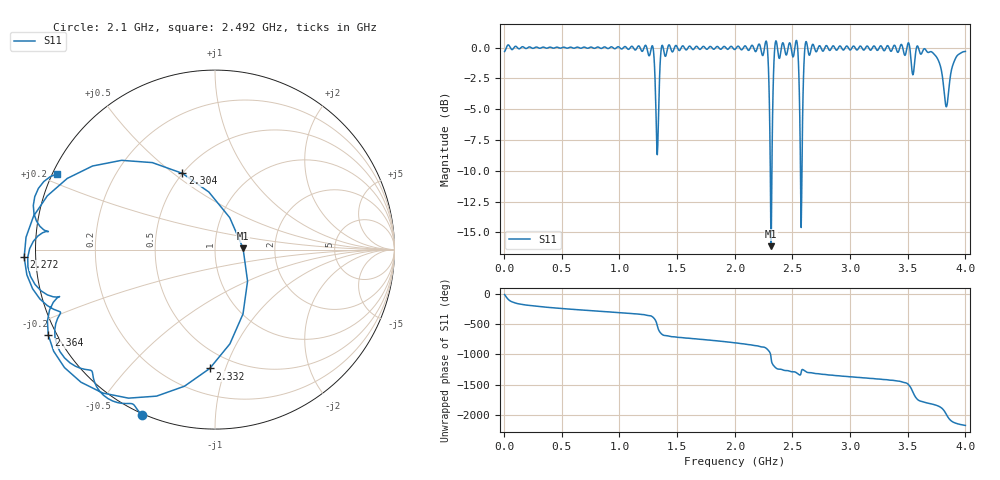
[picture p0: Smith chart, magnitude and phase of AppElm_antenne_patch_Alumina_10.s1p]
! TOUCHSTONE file generated by CST MICROWAVE STUDIO
! Date and time: Thu Jun  9 08:55:04 2022
! Project name: AppElm_antenne_patch_Alumina.cst
! Parameters = {L=36.6; W=41.8; e=0.035; h=1.6; lambda=0.190476; ls=90; w0=1.12; w1=0.373; ws=90; y0=14; y1=10}
! Header version: 2018
! Port assignment regex: !\s*Touchstone port\s*([0-9]+)\s*=\s*(CST MWS port|CST DS port)\s*([0-9]+|Zmin|Zmax)\s*\(\"(.*)\"\)(\s*mode\s*([0-9]+))?.*
! Touchstone port assignment:
! Touchstone port 1 = CST MWS port 1 ("")
# GHz S MA R 50
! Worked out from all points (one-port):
!   1000 points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, 4 MHz to 4 GHz, reference 50 ohm
!   lowest |S11| = -16.1 dB at 2.316 GHz (marker M1), VSWR 1.37, Z = 68.5 + j1.09 ohm
!   |S11| at or under -10 dB: 2.308 GHz to 2.322 GHz (13.89 MHz wide, 0.6 % of centre); 2.569783 GHz to 2.582416 GHz (12.63 MHz wide, 0.49 % of centre)
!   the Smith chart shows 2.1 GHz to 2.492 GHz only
!   S11 on the Smith chart (normalised r, x): 2.1 GHz: -0.00, -0.65; 2.272 GHz: -0.03, -0.02; 2.304 GHz: 0.50, +0.54; 2.332 GHz: 0.37, -0.88; 2.364 GHz: -0.02, -0.24; 2.492 GHz: 0.01, +0.23
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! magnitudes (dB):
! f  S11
! 4 MHz  -0.3
! 504 MHz  0.0
! 1.004 GHz  0.0
! 1.28 GHz  0.1
! 1.328 GHz  -8.7
! 1.372 GHz  0.2
! 1.504 GHz  0.0
! 2.004 GHz  -0.1
! 2.1 GHz  0.1
! 2.272 GHz  0.5
! 2.284 GHz  -0.2
! 2.304 GHz  -6.7
! 2.316 GHz  -16.1
! 2.332 GHz  -3.6
! 2.348 GHz  0.1
! 2.364 GHz  0.4
! 2.492 GHz  -0.2
! 2.504 GHz  -0.7
! 2.54 GHz  0.4
! 2.576 GHz  -14.6
! 2.62 GHz  0.5
! 3.004 GHz  -0.2
! 3.504 GHz  0.4
! 3.544 GHz  -2.2
! 3.744 GHz  -0.7
! 3.836 GHz  -4.8
! 3.904 GHz  -1.1
! 4 GHz  -0.3
